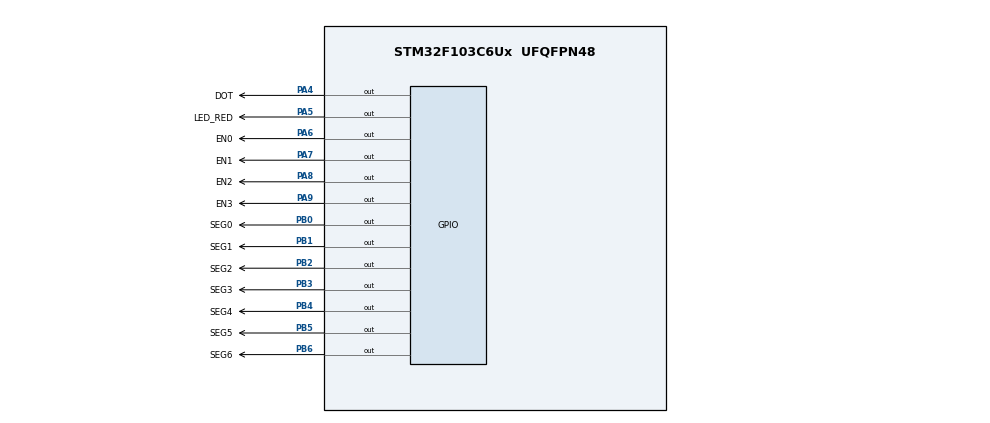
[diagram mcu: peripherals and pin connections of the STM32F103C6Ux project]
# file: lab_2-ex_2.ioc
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Mcu.Family=STM32F1
Mcu.Name=STM32F103C6Ux
Mcu.Package=UFQFPN48
NVIC.PriorityGroup=NVIC_PRIORITYGROUP_4
NVIC.TIM2_IRQn=true\:0\:0\:false\:false\:true\:true\:true
PA4.GPIO_Label=DOT
PA4.Signal=GPIO_Output
PA5.GPIO_Label=LED_RED
PA5.Signal=GPIO_Output
PA6.GPIO_Label=EN0
PA6.Signal=GPIO_Output
PA7.GPIO_Label=EN1
PA7.Signal=GPIO_Output
PA8.GPIO_Label=EN2
PA8.Signal=GPIO_Output
PA9.GPIO_Label=EN3
PA9.Signal=GPIO_Output
PB0.GPIO_Label=SEG0
PB0.Signal=GPIO_Output
PB1.GPIO_Label=SEG1
PB1.Signal=GPIO_Output
PB2.GPIO_Label=SEG2
PB2.Signal=GPIO_Output
PB3.GPIO_Label=SEG3
PB3.Signal=GPIO_Output
PB4.GPIO_Label=SEG4
PB4.Signal=GPIO_Output
PB5.GPIO_Label=SEG5
PB5.Signal=GPIO_Output
PB6.GPIO_Label=SEG6
PB6.Signal=GPIO_Output
ProjectManager.HeapSize=0x200
ProjectManager.StackSize=0x400
ProjectManager.TargetToolchain=STM32CubeIDE
RCC.APB1Freq_Value=8000000
RCC.APB2Freq_Value=8000000
TIM2.Period=9
TIM2.Prescaler=7999
VP_SYS_VS_ND.Mode=No_Debug
VP_TIM2_VS_ClockSourceINT.Mode=Internal
board=custom

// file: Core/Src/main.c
/* USER CODE BEGIN Header */
/**
  ******************************************************************************
  * @file           : main.c
  * @brief          : Main program body
  ******************************************************************************
  * @attention
  *
  * <h2><center>&copy; Copyright (c) 2022 STMicroelectronics.
  * All rights reserved.</center></h2>
  *
  * This software component is licensed by ST under BSD 3-Clause license,
  * the "License"; You may not use this file except in compliance with the
  * License. You may obtain a copy of the License at:
  *                        opensource.org/licenses/BSD-3-Clause
  *
  ******************************************************************************
  */
/* USER CODE END Header */
#include "main.h"

TIM_HandleTypeDef htim2;

void SystemClock_Config(void);
static void MX_GPIO_Init(void);
static void MX_TIM2_Init(void);

int main(void)
{

  /* MCU Configuration--------------------------------------------------------*/

  /* Reset of all peripherals, Initializes the Flash interface and the Systick. */
  HAL_Init();

  /* Configure the system clock */
  SystemClock_Config();

  /* Initialize all configured peripherals */
  MX_GPIO_Init();
  MX_TIM2_Init();
  /* USER CODE BEGIN 2 */
  HAL_TIM_Base_Start_IT(&htim2);
  /* USER CODE END 2 */

  /* Infinite loop */
  while (1)
  {

  }
}

void SystemClock_Config(void)
{
  RCC_OscInitTypeDef RCC_OscInitStruct = {0};
  RCC_ClkInitTypeDef RCC_ClkInitStruct = {0};

  /** Initializes the RCC Oscillators according to the specified parameters
  * in the RCC_OscInitTypeDef structure.
  */
  RCC_OscInitStruct.OscillatorType = RCC_OSCILLATORTYPE_HSI;
  RCC_OscInitStruct.HSIState = RCC_HSI_ON;
  RCC_OscInitStruct.HSICalibrationValue = RCC_HSICALIBRATION_DEFAULT;
  RCC_OscInitStruct.PLL.PLLState = RCC_PLL_NONE;
  if (HAL_RCC_OscConfig(&RCC_OscInitStruct) != HAL_OK)
  {
    Error_Handler();
  }
  /** Initializes the CPU, AHB and APB buses clocks
  */
  RCC_ClkInitStruct.ClockType = RCC_CLOCKTYPE_HCLK|RCC_CLOCKTYPE_SYSCLK
                              |RCC_CLOCKTYPE_PCLK1|RCC_CLOCKTYPE_PCLK2;
  RCC_ClkInitStruct.SYSCLKSource = RCC_SYSCLKSOURCE_HSI;
  RCC_ClkInitStruct.AHBCLKDivider = RCC_SYSCLK_DIV1;
  RCC_ClkInitStruct.APB1CLKDivider = RCC_HCLK_DIV1;
  RCC_ClkInitStruct.APB2CLKDivider = RCC_HCLK_DIV1;

  if (HAL_RCC_ClockConfig(&RCC_ClkInitStruct, FLASH_LATENCY_0) != HAL_OK)
  {
    Error_Handler();
  }
}

static void MX_TIM2_Init(void)
{

  TIM_ClockConfigTypeDef sClockSourceConfig = {0};
  TIM_MasterConfigTypeDef sMasterConfig = {0};

  htim2.Instance = TIM2;
  htim2.Init.Prescaler = 7999;
  htim2.Init.CounterMode = TIM_COUNTERMODE_UP;
  htim2.Init.Period = 9;
  htim2.Init.ClockDivision = TIM_CLOCKDIVISION_DIV1;
  htim2.Init.AutoReloadPreload = TIM_AUTORELOAD_PRELOAD_DISABLE;
  if (HAL_TIM_Base_Init(&htim2) != HAL_OK)
  {
    Error_Handler();
  }
  sClockSourceConfig.ClockSource = TIM_CLOCKSOURCE_INTERNAL;
  if (HAL_TIM_ConfigClockSource(&htim2, &sClockSourceConfig) != HAL_OK)
  {
    Error_Handler();
  }
  sMasterConfig.MasterOutputTrigger = TIM_TRGO_RESET;
  sMasterConfig.MasterSlaveMode = TIM_MASTERSLAVEMODE_DISABLE;
  if (HAL_TIMEx_MasterConfigSynchronization(&htim2, &sMasterConfig) != HAL_OK)
  {
    Error_Handler();
  }

}

static void MX_GPIO_Init(void)
{
  GPIO_InitTypeDef GPIO_InitStruct = {0};

  /* GPIO Ports Clock Enable */
  __HAL_RCC_GPIOA_CLK_ENABLE();
  __HAL_RCC_GPIOB_CLK_ENABLE();

  /*Configure GPIO pin Output Level */
  HAL_GPIO_WritePin(GPIOA, DOT_Pin|LED_RED_Pin|EN0_Pin|EN1_Pin
                          |EN2_Pin|EN3_Pin, GPIO_PIN_RESET);

  /*Configure GPIO pin Output Level */
  HAL_GPIO_WritePin(GPIOB, SEG0_Pin|SEG1_Pin|SEG2_Pin|SEG3_Pin
                          |SEG4_Pin|SEG5_Pin|SEG6_Pin, GPIO_PIN_RESET);

  /*Configure GPIO pins : DOT_Pin LED_RED_Pin EN0_Pin EN1_Pin
                           EN2_Pin EN3_Pin */
  GPIO_InitStruct.Pin = DOT_Pin|LED_RED_Pin|EN0_Pin|EN1_Pin
                          |EN2_Pin|EN3_Pin;
  GPIO_InitStruct.Mode = GPIO_MODE_OUTPUT_PP;
  GPIO_InitStruct.Pull = GPIO_NOPULL;
  GPIO_InitStruct.Speed = GPIO_SPEED_FREQ_LOW;
  HAL_GPIO_Init(GPIOA, &GPIO_InitStruct);

  /*Configure GPIO pins : SEG0_Pin SEG1_Pin SEG2_Pin SEG3_Pin
                           SEG4_Pin SEG5_Pin SEG6_Pin */
  GPIO_InitStruct.Pin = SEG0_Pin|SEG1_Pin|SEG2_Pin|SEG3_Pin
                          |SEG4_Pin|SEG5_Pin|SEG6_Pin;
  GPIO_InitStruct.Mode = GPIO_MODE_OUTPUT_PP;
  GPIO_InitStruct.Pull = GPIO_NOPULL;
  GPIO_InitStruct.Speed = GPIO_SPEED_FREQ_LOW;
  HAL_GPIO_Init(GPIOB, &GPIO_InitStruct);

}

/* USER CODE BEGIN 4 */
int segment_flag = 1;
int timer_flag = 50;
void HAL_TIM_PeriodElapsedCallback(TIM_HandleTypeDef *htim){
	if(timer_flag > 0){
	  if(timer_flag == 50){
		  switch(segment_flag){
				case 1:
					segment_flag = 2;
					HAL_GPIO_WritePin(EN1_GPIO_Port, EN1_Pin, SET);
					HAL_GPIO_WritePin(EN0_GPIO_Port, EN0_Pin, RESET);
					HAL_GPIO_WritePin(EN2_GPIO_Port, EN2_Pin, SET);
					HAL_GPIO_WritePin(EN3_GPIO_Port, EN3_Pin, SET);
					HAL_GPIO_WritePin(DOT_GPIO_Port, DOT_Pin, SET);
					HAL_GPIO_WritePin(SEG0_GPIO_Port, SEG0_Pin, SET);
					HAL_GPIO_WritePin(SEG1_GPIO_Port, SEG1_Pin, RESET);
					HAL_GPIO_WritePin(SEG2_GPIO_Port, SEG2_Pin, RESET);
					HAL_GPIO_WritePin(SEG3_GPIO_Port, SEG3_Pin, SET);
					HAL_GPIO_WritePin(SEG4_GPIO_Port, SEG4_Pin, SET);
					HAL_GPIO_WritePin(SEG5_GPIO_Port, SEG5_Pin, SET);
					HAL_GPIO_WritePin(SEG6_GPIO_Port, SEG6_Pin, SET);
					break;
				case 2:
					segment_flag = 3;
					HAL_GPIO_WritePin(EN0_GPIO_Port, EN0_Pin, SET);
					HAL_GPIO_WritePin(EN1_GPIO_Port, EN1_Pin, RESET);
					HAL_GPIO_WritePin(EN2_GPIO_Port, EN2_Pin, SET);
					HAL_GPIO_WritePin(EN3_GPIO_Port, EN3_Pin, SET);
					HAL_GPIO_WritePin(SEG0_GPIO_Port, SEG0_Pin, RESET);
					HAL_GPIO_WritePin(SEG1_GPIO_Port, SEG1_Pin, RESET);
					HAL_GPIO_WritePin(SEG2_GPIO_Port, SEG2_Pin, SET);
					HAL_GPIO_WritePin(SEG3_GPIO_Port, SEG3_Pin, RESET);
					HAL_GPIO_WritePin(SEG4_GPIO_Port, SEG4_Pin, RESET);
					HAL_GPIO_WritePin(SEG5_GPIO_Port, SEG5_Pin, SET);
					HAL_GPIO_WritePin(SEG6_GPIO_Port, SEG6_Pin, RESET);
					break;
				case 3:
					segment_flag = 4;
					HAL_GPIO_WritePin(EN0_GPIO_Port, EN0_Pin, SET);
					HAL_GPIO_WritePin(EN1_GPIO_Port, EN1_Pin, SET);
					HAL_GPIO_WritePin(EN2_GPIO_Port, EN2_Pin, RESET);
					HAL_GPIO_WritePin(EN3_GPIO_Port, EN3_Pin, SET);
					HAL_GPIO_WritePin(DOT_GPIO_Port, DOT_Pin, RESET);
					HAL_GPIO_WritePin(SEG0_GPIO_Port, SEG0_Pin, RESET);
					HAL_GPIO_WritePin(SEG1_GPIO_Port, SEG1_Pin, RESET);
					HAL_GPIO_WritePin(SEG2_GPIO_Port, SEG2_Pin, RESET);
					HAL_GPIO_WritePin(SEG3_GPIO_Port, SEG3_Pin, RESET);
					HAL_GPIO_WritePin(SEG4_GPIO_Port, SEG4_Pin, SET);
					HAL_GPIO_WritePin(SEG5_GPIO_Port, SEG5_Pin, SET);
					HAL_GPIO_WritePin(SEG6_GPIO_Port, SEG6_Pin, RESET);
					break;
				case 4:
					segment_flag = 1;
					HAL_GPIO_WritePin(EN0_GPIO_Port, EN0_Pin, SET);
					HAL_GPIO_WritePin(EN1_GPIO_Port, EN1_Pin, SET);
					HAL_GPIO_WritePin(EN2_GPIO_Port, EN2_Pin, SET);
					HAL_GPIO_WritePin(EN3_GPIO_Port, EN3_Pin, RESET);
					HAL_GPIO_WritePin(SEG0_GPIO_Port, SEG0_Pin, RESET);
					HAL_GPIO_WritePin(SEG1_GPIO_Port, SEG1_Pin, RESET);
					HAL_GPIO_WritePin(SEG2_GPIO_Port, SEG2_Pin, RESET);
					HAL_GPIO_WritePin(SEG3_GPIO_Port, SEG3_Pin, RESET);
					HAL_GPIO_WritePin(SEG4_GPIO_Port, SEG4_Pin, RESET);
					HAL_GPIO_WritePin(SEG5_GPIO_Port, SEG5_Pin, RESET);
					HAL_GPIO_WritePin(SEG6_GPIO_Port, SEG6_Pin, SET);
					break;
				default:
					break;
				}
		  }
		  timer_flag--;
		  if(timer_flag == 0){
			  timer_flag = 50;
			  HAL_GPIO_TogglePin(LED_RED_GPIO_Port, LED_RED_Pin);
		  }
		}
}
/* USER CODE END 4 */

void Error_Handler(void)
{
  __disable_irq();
  while (1)
  {
  }
}

/************************ (C) COPYRIGHT STMicroelectronics *****END OF FILE****/
